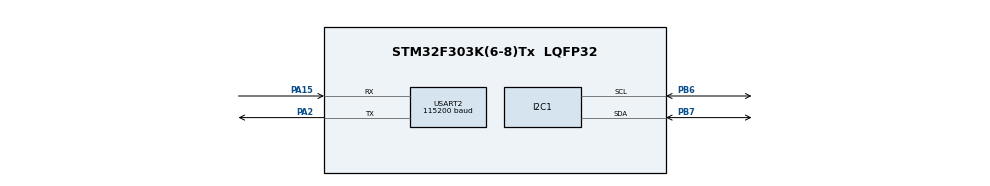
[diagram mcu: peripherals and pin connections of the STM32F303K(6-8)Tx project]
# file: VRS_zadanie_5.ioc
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I2C1.Timing=0x00201D2B
Mcu.Family=STM32F3
Mcu.Name=STM32F303K(6-8)Tx
Mcu.Package=LQFP32
NVIC.I2C1_EV_IRQn=true\:0\:0\:false\:false\:true\:true\:true\:true
NVIC.PriorityGroup=NVIC_PRIORITYGROUP_4
PA15.Mode=Asynchronous
PA15.Signal=USART2_RX
PA2.Mode=Asynchronous
PA2.Signal=USART2_TX
PB6.GPIO_PuPd=GPIO_PULLUP
PB6.Mode=I2C
PB6.Signal=I2C1_SCL
PB7.GPIO_PuPd=GPIO_PULLUP
PB7.Mode=I2C
PB7.Signal=I2C1_SDA
ProjectManager.HeapSize=0x200
ProjectManager.StackSize=0x400
ProjectManager.TargetToolchain=STM32CubeIDE
RCC.AHBFreq_Value=8000000
RCC.APB1Freq_Value=8000000
RCC.APB2Freq_Value=8000000
RCC.CortexFreq_Value=8000000
RCC.HSE_VALUE=8000000
RCC.HSI_VALUE=8000000
RCC.SYSCLKFreq_VALUE=8000000
USART2.BaudRate=115200
USART2.VirtualMode-Asynchronous=VM_ASYNC
board=custom

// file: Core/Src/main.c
/* USER CODE BEGIN Header */
/**
  ******************************************************************************
  * @file           : main.c
  * @brief          : Main program body
  ******************************************************************************
  * @attention
  *
  * Copyright (c) 2026 STMicroelectronics.
  * All rights reserved.
  *
  * This software is licensed under terms that can be found in the LICENSE file
  * in the root directory of this software component.
  * If no LICENSE file comes with this software, it is provided AS-IS.
  *
  ******************************************************************************
  */
/* USER CODE END Header */
#include "main.h"
#include "i2c.h"
#include "usart.h"
#include "gpio.h"

/* USER CODE BEGIN Includes */
#include <stdio.h>
#include "hts221.h"
#include "lps25hb.h"

/* USER CODE END Includes */

/* USER CODE BEGIN PD */

#define MEASUREMENT_PERIOD_MS		100U
#define SENSOR_RETRY_PERIOD_MS		1000U
#define REFERENCE_SAMPLES			16U
#define REFERENCE_SKIPPED_SAMPLES	10U

/* USER CODE END PD */

/* USER CODE BEGIN PV */

static float reference_pressure = 0.0f;

/* USER CODE END PV */

void SystemClock_Config(void);
/* USER CODE BEGIN PFP */
static void sensors_init(void);
static float measure_reference_pressure(void);
static void format_fixed(char *buffer, uint8_t size, float value, uint8_t decimals);

/* USER CODE END PFP */

int main(void)
{

  /* MCU Configuration--------------------------------------------------------*/

  /* Reset of all peripherals, Initializes the Flash interface and the Systick. */
  LL_APB2_GRP1_EnableClock(LL_APB2_GRP1_PERIPH_SYSCFG);
  LL_APB1_GRP1_EnableClock(LL_APB1_GRP1_PERIPH_PWR);

  /* System interrupt init*/
  NVIC_SetPriorityGrouping(NVIC_PRIORITYGROUP_4);

  /* SysTick_IRQn interrupt configuration */
  NVIC_SetPriority(SysTick_IRQn, NVIC_EncodePriority(NVIC_GetPriorityGrouping(),15, 0));

  /* Configure the system clock */
  SystemClock_Config();

  /* Initialize all configured peripherals */
  MX_GPIO_Init();
  MX_I2C1_Init();
  MX_USART2_UART_Init();
  /* USER CODE BEGIN 2 */

  hts221_register_callbacks(i2c_master_read, i2c_master_write);
  lps25hb_register_callbacks(i2c_master_read, i2c_master_write);

  sensors_init();

  reference_pressure = measure_reference_pressure();

  /* USER CODE END 2 */

  /* Infinite loop */
  while (1)
  {

    /* USER CODE BEGIN 3 */
	  float temperature, humidity, pressure, altitude;
	  char temperature_str[12], humidity_str[12], pressure_str[12], altitude_str[12];
	  char message[64];

	  if(hts221_get_temperature(&temperature) && hts221_get_humidity(&humidity) &&
		 lps25hb_get_pressure(&pressure))
	  {
		  altitude = lps25hb_calculate_altitude(pressure, reference_pressure);

		  format_fixed(temperature_str, sizeof(temperature_str), temperature, 1);
		  format_fixed(humidity_str, sizeof(humidity_str), humidity, 0);
		  format_fixed(pressure_str, sizeof(pressure_str), pressure, 2);
		  format_fixed(altitude_str, sizeof(altitude_str), altitude, 2);

		  snprintf(message, sizeof(message), "%s,%s,%s,%s\r\n",
				   temperature_str, humidity_str, pressure_str, altitude_str);
		  usart2_send_string(message);
	  }
	  else
	  {
		  usart2_send_string("Sensor read error\r\n");
		  sensors_init();
	  }

	  LL_mDelay(MEASUREMENT_PERIOD_MS);
  }
  /* USER CODE END 3 */
}

void SystemClock_Config(void)
{
  LL_FLASH_SetLatency(LL_FLASH_LATENCY_0);
  while(LL_FLASH_GetLatency()!= LL_FLASH_LATENCY_0)
  {
  }
  LL_RCC_HSI_Enable();

   /* Wait till HSI is ready */
  while(LL_RCC_HSI_IsReady() != 1)
  {

  }
  LL_RCC_HSI_SetCalibTrimming(16);
  LL_RCC_SetAHBPrescaler(LL_RCC_SYSCLK_DIV_1);
  LL_RCC_SetAPB1Prescaler(LL_RCC_APB1_DIV_1);
  LL_RCC_SetAPB2Prescaler(LL_RCC_APB2_DIV_1);
  LL_RCC_SetSysClkSource(LL_RCC_SYS_CLKSOURCE_HSI);

   /* Wait till System clock is ready */
  while(LL_RCC_GetSysClkSource() != LL_RCC_SYS_CLKSOURCE_STATUS_HSI)
  {

  }
  LL_Init1msTick(8000000);
  LL_SetSystemCoreClock(8000000);
  LL_RCC_SetI2CClockSource(LL_RCC_I2C1_CLKSOURCE_HSI);
}

/* USER CODE BEGIN 4 */

static void sensors_init(void)
{
	uint8_t humidity_sensor_ok, pressure_sensor_ok;

	while(1)
	{
		humidity_sensor_ok = hts221_init();
		pressure_sensor_ok = lps25hb_init();

		if(humidity_sensor_ok && pressure_sensor_ok) break;

		if(!humidity_sensor_ok) usart2_send_string("Humidity sensor not found\r\n");
		if(!pressure_sensor_ok) usart2_send_string("Pressure sensor not found\r\n");

		LL_mDelay(SENSOR_RETRY_PERIOD_MS);
	}
}

static float measure_reference_pressure(void)
{
	float sum = 0.0f;
	float pressure;
	uint8_t samples = 0;
	uint8_t skipped = 0;
	uint16_t timeout = 0;

	while((samples < REFERENCE_SAMPLES) && (timeout < 5000U))
	{
		if(lps25hb_is_pressure_ready() && lps25hb_get_pressure(&pressure))
		{
			if(skipped < REFERENCE_SKIPPED_SAMPLES)
			{
				skipped++;
			}
			else
			{
				sum += pressure;
				samples++;
			}
		}
		LL_mDelay(1);
		timeout++;
	}

	if(samples == 0U)
	{
		return lps25hb_get_pressure(&pressure) ? pressure : 1013.25f;
	}

	return sum / (float)samples;
}

static void format_fixed(char *buffer, uint8_t size, float value, uint8_t decimals)
{
	int32_t scale = 1;
	int32_t scaled;
	uint8_t i;

	for(i = 0; i < decimals; i++) scale *= 10;

	scaled = (int32_t)(value * (float)scale + ((value >= 0.0f) ? 0.5f : -0.5f));

	const char *sign = (scaled < 0) ? "-" : "";
	if(scaled < 0) scaled = -scaled;

	if(decimals == 0U)
	{
		snprintf(buffer, size, "%s%ld", sign, (long)scaled);
	}
	else if(decimals == 1U)
	{
		snprintf(buffer, size, "%s%ld.%01ld", sign, (long)(scaled / scale), (long)(scaled % scale));
	}
	else
	{
		snprintf(buffer, size, "%s%ld.%02ld", sign, (long)(scaled / scale), (long)(scaled % scale));
	}
}

/* USER CODE END 4 */

void Error_Handler(void)
{
  __disable_irq();
  while (1)
  {
  }
}
